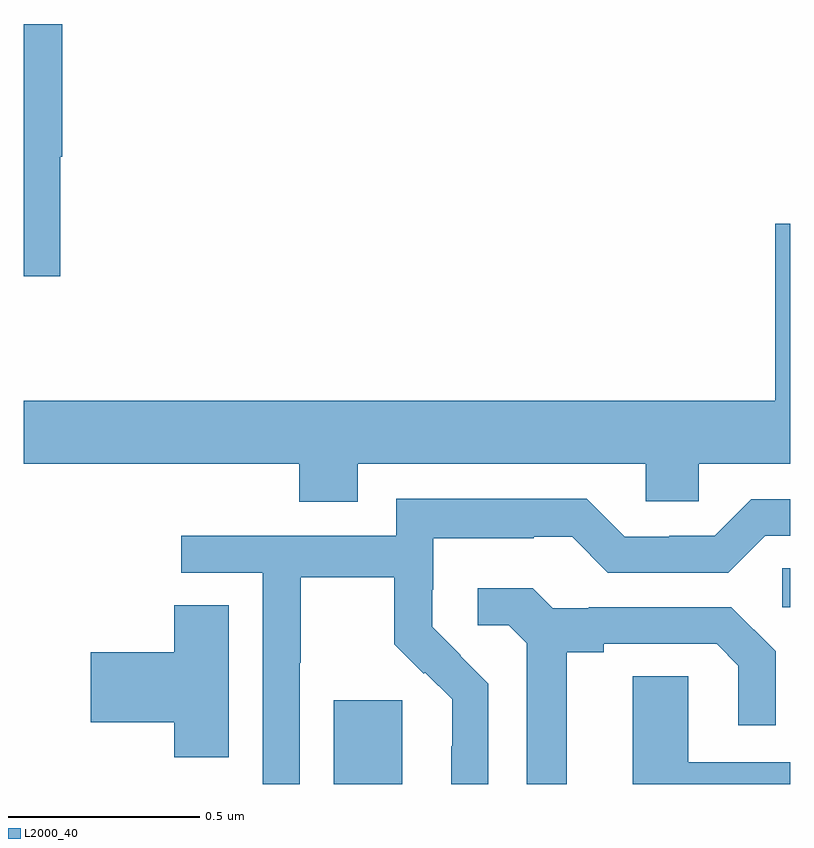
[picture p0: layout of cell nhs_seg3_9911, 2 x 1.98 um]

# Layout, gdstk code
import gdstk
lib = gdstk.Library(unit=1e-6, precision=1e-09)
def R(c, l, rs):  # rectangles x0, y0, x1, y1
    for r in rs: c.add(gdstk.rectangle(r[:2], r[2:], *l))
def P(c, l, *ps):  # polygons
    for p in ps: c.add(gdstk.Polygon(p, *l))
L2000_40 = (2000, 40)

nhs_seg3_9911 = lib.new_cell('nhs_seg3_9911')
R(nhs_seg3_9911, L2000_40, [(234.809,713.4,234.988,713.619), (235.98,713.862,236,713.963)])
P(nhs_seg3_9911, L2000_40, [(234.095,715.038),(234.1,715.038),(234.1,715.384),(234,715.384),(234,714.726),(234.095,714.726)],
  [(234.871,714.236),(235.623,714.236),(235.623,714.138),(235.761,714.138),(235.761,714.236),(236,714.236),(236,714.862),(235.961,714.862),(235.961,714.4),(234,714.4),(234,714.236),(234.719,714.236),(234.719,714.137),(234.871,714.137)],
  [(234.72,713.716),(234.723,713.716),(234.723,713.94),(234.967,713.94),(234.967,713.765),(235.044,713.688),(235.047,713.691),(235.118,713.621),(235.118,713.498),(235.116,713.498),(235.116,713.4),(235.212,713.4),(235.212,713.662),(235.139,713.735),(235.14,713.736),(235.066,713.81),(235.066,713.907),(235.068,713.907),(235.068,714.041),(235.331,714.041),(235.331,714.045),(235.431,714.045),(235.524,713.952),(235.839,713.952),(235.935,714.048),(236,714.048),(236,714.144),(235.899,714.144),(235.803,714.048),(235.685,714.048),(235.685,714.045),(235.569,714.045),(235.469,714.145),(234.972,714.145),(234.972,714.048),(234.411,714.048),(234.411,713.952),(234.624,713.952),(234.624,713.4),(234.72,713.4)],
  [(235.417,713.744),(235.513,713.744),(235.513,713.766),(235.808,713.766),(235.865,713.709),(235.865,713.553),(235.962,713.553),(235.962,713.746),(235.846,713.862),(235.474,713.862),(235.474,713.859),(235.38,713.859),(235.328,713.911),(235.185,713.911),(235.185,713.814),(235.266,713.814),(235.313,713.767),(235.313,713.4),(235.417,713.4)],
  [(234.535,713.867),(234.392,713.867),(234.392,713.744),(234.174,713.744),(234.174,713.561),(234.392,713.561),(234.392,713.47),(234.535,713.47)],
  [(236,713.457),(235.734,713.457),(235.734,713.681),(235.589,713.681),(235.589,713.4),(236,713.4)])

lib.write_gds('nhs_seg3_9911.gds')
